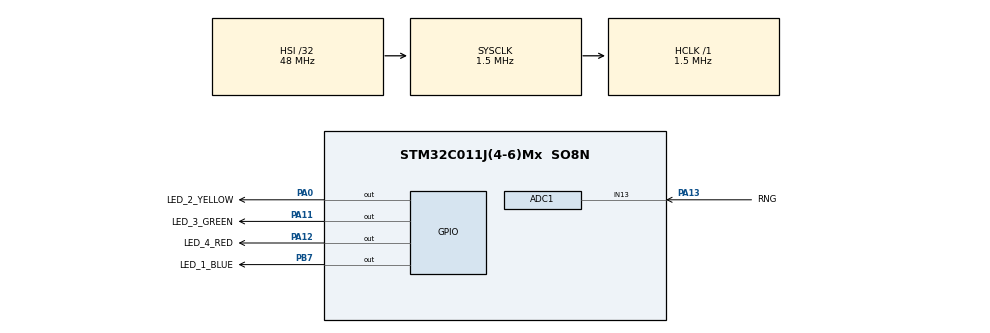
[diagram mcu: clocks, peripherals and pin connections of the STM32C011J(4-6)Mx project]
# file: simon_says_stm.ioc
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ADC1.Channel-2\#ChannelRegularConversion=ADC_CHANNEL_13
ADC1.DiscontinuousConvMode=ENABLE
ADC1.NbrOfConversion=1
ADC1.NbrOfConversionFlag=1
ADC1.Rank-2\#ChannelRegularConversion=1
ADC1.SamplingTime-2\#ChannelRegularConversion=ADC_SAMPLINGTIME_COMMON_1
ADC1.SamplingTimeCommon1=ADC_SAMPLETIME_1CYCLE_5
ADC1.SamplingTimeCommon2=ADC_SAMPLETIME_1CYCLE_5
ADC1.SelectedChannel=ADC_CHANNEL_13
ADC1.master=1
Mcu.Family=STM32C0
Mcu.Name=STM32C011J(4-6)Mx
Mcu.Package=SO8N
PA0.GPIO_Label=LED_2_YELLOW
PA0.GPIO_ModeDefaultOutputPP=GPIO_MODE_OUTPUT_PP
PA0.GPIO_PuPd=GPIO_PULLUP
PA0.GPIO_Speed=GPIO_SPEED_FREQ_LOW
PA0.PinState=GPIO_PIN_RESET
PA0.Signal=GPIO_Output
PA11\ [PA9].GPIO_Label=LED_3_GREEN
PA11\ [PA9].GPIO_PuPd=GPIO_PULLUP
PA11\ [PA9].Signal=GPIO_Output
PA12\ [PA10].GPIO_Label=LED_4_RED
PA12\ [PA10].GPIO_ModeDefaultOutputPP=GPIO_MODE_OUTPUT_PP
PA12\ [PA10].GPIO_PuPd=GPIO_PULLUP
PA12\ [PA10].GPIO_Speed=GPIO_SPEED_FREQ_LOW
PA12\ [PA10].PinState=GPIO_PIN_RESET
PA12\ [PA10].Signal=GPIO_Output
PA13.GPIO_Label=RNG
PA13.Mode=IN13
PA13.Signal=ADC1_IN13
PA8__PA11\ [PA9].StandardMode=true
PB7.GPIO_Label=LED_1_BLUE
PB7.GPIO_ModeDefaultOutputPP=GPIO_MODE_OUTPUT_PP
PB7.GPIO_PuPd=GPIO_PULLUP
PB7.GPIO_Speed=GPIO_SPEED_FREQ_LOW
PB7.PinState=GPIO_PIN_RESET
PB7.Signal=GPIO_Output
PC14-OSCX_IN\ (PC14)__PB7.StandardMode=true
PC15-OSCX_OUT\ (PC15)__PA14-BOOT0__PB6.StandardMode=true
PF2-NRST__PA0__PA1__PA2.StandardMode=true
ProjectManager.HeapSize=0x200
ProjectManager.StackSize=0x400
ProjectManager.TargetToolchain=STM32CubeIDE
RCC.ADCFreq_Value=1500000
RCC.AHBFreq_Value=1500000
RCC.CortexFreq_Value=1500000
RCC.EXTERNAL_CLOCK_VALUE=12288000
RCC.HCLKFreq_Value=1500000
RCC.HSE_VALUE=8000000
RCC.HSISYSCLKDivider=RCC_HSI_DIV32
RCC.HSI_VALUE=48000000
RCC.LSE_VALUE=32768
RCC.SYSCLKFreq_VALUE=1500000
board=custom

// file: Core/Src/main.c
/* USER CODE BEGIN Header */

/**
 **************************************************
 *
 * @file        main.c
 * @brief       STM32 code for Simon Says Game
 *              Soldering Kit from Soldered.
 *
 * @note        In order to successfully run this code, make sure to use STM32 cube programmer
 * 				And set Option Bytes -> User Configuration -> NRST_MODE 2
 *
 * @authors     Robert Soric for soldered.com
 ***************************************************/
/* USER CODE END Header */
#include "main.h"

/* USER CODE BEGIN Includes */
#include "game.h"
/* USER CODE END Includes */

ADC_HandleTypeDef hadc1;
/* USER CODE BEGIN PV */

// List of ports, used for GPIO writes
GPIO_TypeDef *portList[] = {
LED_1_BLUE_GPIO_Port,
LED_2_YELLOW_GPIO_Port,
LED_3_GREEN_GPIO_Port,
LED_4_RED_GPIO_Port };

// List of pins, used for GPIO writes
uint16_t pinList[] = {
LED_1_BLUE_Pin,
LED_2_YELLOW_Pin,
LED_3_GREEN_Pin,
LED_4_RED_Pin, };

// Variables which remember the state of the game
uint8_t keys[MAX_STEPS];
uint8_t delayTimes[4] = { 255, 127, 63, 31 };
uint8_t steps = 0;

/* USER CODE END PV */

void SystemClock_Config(void);
static void MX_GPIO_Init(void);
static void MX_ADC1_Init(void);

int main(void) {

	/* MCU Configuration--------------------------------------------------------*/

	/* Reset of all peripherals, Initializes the Flash interface and the Systick. */
	HAL_Init();

	/* Configure the system clock */
	SystemClock_Config();

	/* USER CODE BEGIN SysInit */
	// Wait 100 ms in case the finished device needs to be reprogrammed
	HAL_Delay(100);

	// Wait four seconds before initializing debug pin SWDIO as an analog read
	// So the device can be reprogrammed (development mode)
	//HAL_Delay(4000);
	/* USER CODE END SysInit */

	/* Initialize all configured peripherals */
	MX_GPIO_Init();
	MX_ADC1_Init();
	/* USER CODE BEGIN 2 */

	// Begin ADC
	HAL_ADC_Start(&hadc1);

	// Turn on all the pins and then show the start animation
	for (int i = 0; i < 4; i++) {
		HAL_GPIO_WritePin(portList[i], pinList[i], GPIO_PIN_SET);
	}
	showStartAnimation(portList, pinList);

	/* USER CODE END 2 */

	/* Infinite loop */
	/* USER CODE BEGIN WHILE */

	// Main game code
	while (1) {
		if (steps < MAX_STEPS) {
			showSequence(keys, steps, &hadc1, delayTimes, portList, pinList);
			if (getKeys(keys, steps, portList, pinList)) {
				HAL_Delay(500);
				steps++;
			} else {
				HAL_Delay(500);
				showFailAnimation(portList, pinList);
				HAL_Delay(500);
				showResult(steps, portList, pinList);
				HAL_Delay(500);
				steps = 0;
				showStartAnimation(portList, pinList);
			}
		} else {
			while (1) {
				steps = 0;
				showStartAnimation(portList, pinList);
			}
		}

	}
	/* USER CODE END WHILE */

}

void SystemClock_Config(void) {
	RCC_OscInitTypeDef RCC_OscInitStruct = { 0 };
	RCC_ClkInitTypeDef RCC_ClkInitStruct = { 0 };

	/** Initializes the RCC Oscillators according to the specified parameters
	 * in the RCC_OscInitTypeDef structure.
	 */
	RCC_OscInitStruct.OscillatorType = RCC_OSCILLATORTYPE_HSI;
	RCC_OscInitStruct.HSIState = RCC_HSI_ON;
	RCC_OscInitStruct.HSIDiv = RCC_HSI_DIV32;
	RCC_OscInitStruct.HSICalibrationValue = RCC_HSICALIBRATION_DEFAULT;
	if (HAL_RCC_OscConfig(&RCC_OscInitStruct) != HAL_OK) {
		Error_Handler();
	}

	/** Initializes the CPU, AHB and APB buses clocks
	 */
	RCC_ClkInitStruct.ClockType = RCC_CLOCKTYPE_HCLK | RCC_CLOCKTYPE_SYSCLK
			| RCC_CLOCKTYPE_PCLK1;
	RCC_ClkInitStruct.SYSCLKSource = RCC_SYSCLKSOURCE_HSI;
	RCC_ClkInitStruct.SYSCLKDivider = RCC_SYSCLK_DIV1;
	RCC_ClkInitStruct.AHBCLKDivider = RCC_HCLK_DIV1;
	RCC_ClkInitStruct.APB1CLKDivider = RCC_APB1_DIV1;

	if (HAL_RCC_ClockConfig(&RCC_ClkInitStruct, FLASH_LATENCY_0) != HAL_OK) {
		Error_Handler();
	}
}

static void MX_ADC1_Init(void) {

	ADC_ChannelConfTypeDef sConfig = { 0 };

	/* USER CODE BEGIN ADC1_Init 1 */
	GPIO_InitTypeDef gpioInit;
	__GPIOA_CLK_ENABLE()
	;
	gpioInit.Pin = GPIO_PIN_13;
	gpioInit.Mode = GPIO_MODE_ANALOG;
	gpioInit.Pull = GPIO_NOPULL;
	HAL_GPIO_Init(GPIOC, &gpioInit);

	/* USER CODE END ADC1_Init 1 */

	/** Configure the global features of the ADC (Clock, Resolution, Data Alignment and number of conversion)
	 */
	hadc1.Instance = ADC1;
	hadc1.Init.ClockPrescaler = ADC_CLOCK_SYNC_PCLK_DIV2;
	hadc1.Init.Resolution = ADC_RESOLUTION_12B;
	hadc1.Init.DataAlign = ADC_DATAALIGN_RIGHT;
	hadc1.Init.ScanConvMode = ADC_SCAN_DISABLE;
	hadc1.Init.EOCSelection = ADC_EOC_SINGLE_CONV;
	hadc1.Init.LowPowerAutoWait = DISABLE;
	hadc1.Init.LowPowerAutoPowerOff = DISABLE;
	hadc1.Init.ContinuousConvMode = ENABLE;
	hadc1.Init.NbrOfConversion = 1;
	hadc1.Init.ExternalTrigConv = ADC_SOFTWARE_START;
	hadc1.Init.ExternalTrigConvEdge = ADC_EXTERNALTRIGCONVEDGE_NONE;
	hadc1.Init.DMAContinuousRequests = DISABLE;
	hadc1.Init.Overrun = ADC_OVR_DATA_PRESERVED;
	hadc1.Init.SamplingTimeCommon1 = ADC_SAMPLETIME_1CYCLE_5;
	hadc1.Init.SamplingTimeCommon2 = ADC_SAMPLETIME_1CYCLE_5;
	hadc1.Init.OversamplingMode = DISABLE;
	hadc1.Init.TriggerFrequencyMode = ADC_TRIGGER_FREQ_HIGH;
	if (HAL_ADC_Init(&hadc1) != HAL_OK) {
		Error_Handler();
	}

	/** Configure Regular Channel
	 */
	sConfig.Channel = ADC_CHANNEL_13;
	sConfig.Rank = ADC_REGULAR_RANK_1;
	sConfig.SamplingTime = ADC_SAMPLINGTIME_COMMON_1;
	if (HAL_ADC_ConfigChannel(&hadc1, &sConfig) != HAL_OK) {
		Error_Handler();
	}

}

static void MX_GPIO_Init(void) {
	GPIO_InitTypeDef GPIO_InitStruct = { 0 };

	/* GPIO Ports Clock Enable */
	__HAL_RCC_GPIOB_CLK_ENABLE();
	__HAL_RCC_GPIOA_CLK_ENABLE();

	/*Configure GPIO pin Output Level */
	HAL_GPIO_WritePin(LED_1_BLUE_GPIO_Port, LED_1_BLUE_Pin, GPIO_PIN_RESET);

	/*Configure GPIO pin Output Level */
	HAL_GPIO_WritePin(GPIOA, LED_2_YELLOW_Pin | LED_3_GREEN_Pin | LED_4_RED_Pin,
			GPIO_PIN_RESET);

	/*Configure GPIO pin : LED_1_BLUE_Pin */
	GPIO_InitStruct.Pin = LED_1_BLUE_Pin;
	GPIO_InitStruct.Mode = GPIO_MODE_OUTPUT_PP;
	GPIO_InitStruct.Pull = GPIO_PULLUP;
	GPIO_InitStruct.Speed = GPIO_SPEED_FREQ_LOW;
	HAL_GPIO_Init(LED_1_BLUE_GPIO_Port, &GPIO_InitStruct);

	/*Configure GPIO pins : LED_2_YELLOW_Pin LED_3_GREEN_Pin LED_4_RED_Pin */
	GPIO_InitStruct.Pin = LED_2_YELLOW_Pin | LED_3_GREEN_Pin | LED_4_RED_Pin;
	GPIO_InitStruct.Mode = GPIO_MODE_OUTPUT_PP;
	GPIO_InitStruct.Pull = GPIO_PULLUP;
	GPIO_InitStruct.Speed = GPIO_SPEED_FREQ_LOW;
	HAL_GPIO_Init(GPIOA, &GPIO_InitStruct);

	/**/
	HAL_SYSCFG_SetPinBinding(
	HAL_BIND_SO8_PIN1_PB7 | HAL_BIND_SO8_PIN4_PA0 | HAL_BIND_SO8_PIN5_PA11);

}

void Error_Handler(void) {
	__disable_irq();
	while (1) {
	}
}
